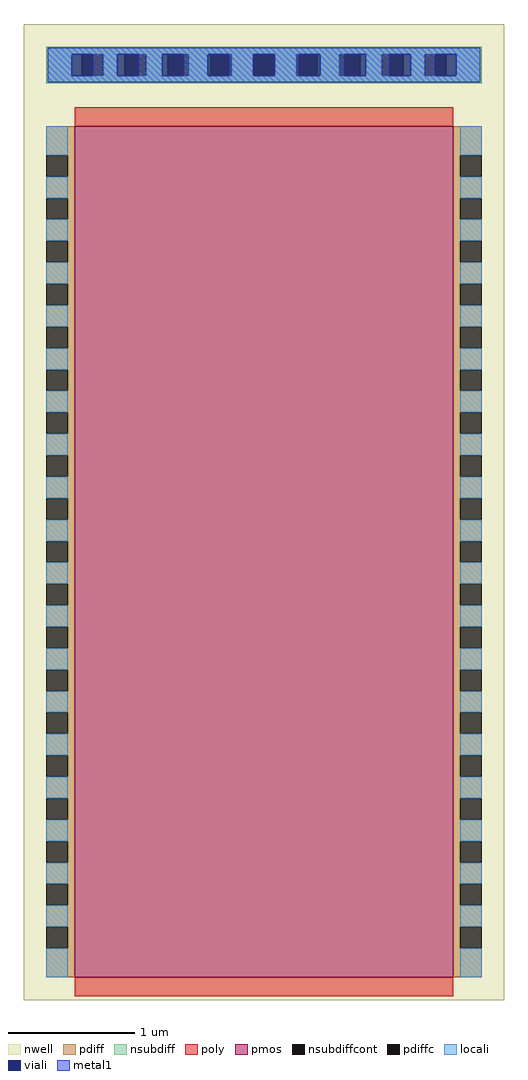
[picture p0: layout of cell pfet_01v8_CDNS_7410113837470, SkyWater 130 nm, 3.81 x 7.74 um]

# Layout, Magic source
magic
tech sky130A
magscale 1 2
<< nwell >>
rect -81 -36 681 1512
<< pmos >>
rect 0 0 600 1350
<< pdiff >>
rect -45 1304 0 1350
rect -11 1270 0 1304
rect -45 1236 0 1270
rect -11 1202 0 1236
rect -45 1168 0 1202
rect -11 1134 0 1168
rect -45 1100 0 1134
rect -11 1066 0 1100
rect -45 1032 0 1066
rect -11 998 0 1032
rect -45 964 0 998
rect -11 930 0 964
rect -45 896 0 930
rect -11 862 0 896
rect -45 828 0 862
rect -11 794 0 828
rect -45 760 0 794
rect -11 726 0 760
rect -45 692 0 726
rect -11 658 0 692
rect -45 624 0 658
rect -11 590 0 624
rect -45 556 0 590
rect -11 522 0 556
rect -45 488 0 522
rect -11 454 0 488
rect -45 420 0 454
rect -11 386 0 420
rect -45 352 0 386
rect -11 318 0 352
rect -45 284 0 318
rect -11 250 0 284
rect -45 216 0 250
rect -11 182 0 216
rect -45 148 0 182
rect -11 114 0 148
rect -45 80 0 114
rect -11 46 0 80
rect -45 0 0 46
rect 600 1304 645 1350
rect 600 1270 611 1304
rect 600 1236 645 1270
rect 600 1202 611 1236
rect 600 1168 645 1202
rect 600 1134 611 1168
rect 600 1100 645 1134
rect 600 1066 611 1100
rect 600 1032 645 1066
rect 600 998 611 1032
rect 600 964 645 998
rect 600 930 611 964
rect 600 896 645 930
rect 600 862 611 896
rect 600 828 645 862
rect 600 794 611 828
rect 600 760 645 794
rect 600 726 611 760
rect 600 692 645 726
rect 600 658 611 692
rect 600 624 645 658
rect 600 590 611 624
rect 600 556 645 590
rect 600 522 611 556
rect 600 488 645 522
rect 600 454 611 488
rect 600 420 645 454
rect 600 386 611 420
rect 600 352 645 386
rect 600 318 611 352
rect 600 284 645 318
rect 600 250 611 284
rect 600 216 645 250
rect 600 182 611 216
rect 600 148 645 182
rect 600 114 611 148
rect 600 80 645 114
rect 600 46 611 80
rect 600 0 645 46
<< pdiffc >>
rect -45 1270 -11 1304
rect -45 1202 -11 1236
rect -45 1134 -11 1168
rect -45 1066 -11 1100
rect -45 998 -11 1032
rect -45 930 -11 964
rect -45 862 -11 896
rect -45 794 -11 828
rect -45 726 -11 760
rect -45 658 -11 692
rect -45 590 -11 624
rect -45 522 -11 556
rect -45 454 -11 488
rect -45 386 -11 420
rect -45 318 -11 352
rect -45 250 -11 284
rect -45 182 -11 216
rect -45 114 -11 148
rect -45 46 -11 80
rect 611 1270 645 1304
rect 611 1202 645 1236
rect 611 1134 645 1168
rect 611 1066 645 1100
rect 611 998 645 1032
rect 611 930 645 964
rect 611 862 645 896
rect 611 794 645 828
rect 611 726 645 760
rect 611 658 645 692
rect 611 590 645 624
rect 611 522 645 556
rect 611 454 645 488
rect 611 386 645 420
rect 611 318 645 352
rect 611 250 645 284
rect 611 182 645 216
rect 611 114 645 148
rect 611 46 645 80
<< nsubdiff >>
rect -45 1464 645 1476
rect -45 1430 11 1464
rect 45 1430 79 1464
rect 113 1430 147 1464
rect 181 1430 215 1464
rect 249 1430 283 1464
rect 317 1430 351 1464
rect 385 1430 419 1464
rect 453 1430 487 1464
rect 521 1430 555 1464
rect 589 1430 645 1464
rect -45 1418 645 1430
<< nsubdiffcont >>
rect 11 1430 45 1464
rect 79 1430 113 1464
rect 147 1430 181 1464
rect 215 1430 249 1464
rect 283 1430 317 1464
rect 351 1430 385 1464
rect 419 1430 453 1464
rect 487 1430 521 1464
rect 555 1430 589 1464
<< poly >>
rect 0 1350 600 1380
rect 0 -30 600 0
<< locali >>
rect -43 1464 643 1474
rect -43 1430 -5 1464
rect 45 1430 67 1464
rect 113 1430 139 1464
rect 181 1430 211 1464
rect 249 1430 283 1464
rect 317 1430 351 1464
rect 389 1430 419 1464
rect 461 1430 487 1464
rect 533 1430 555 1464
rect 605 1430 643 1464
rect -43 1420 643 1430
rect -45 1304 -11 1350
rect -45 1236 -11 1270
rect -45 1168 -11 1202
rect -45 1100 -11 1134
rect -45 1032 -11 1066
rect -45 964 -11 998
rect -45 896 -11 930
rect -45 828 -11 862
rect -45 760 -11 794
rect -45 692 -11 726
rect -45 624 -11 658
rect -45 556 -11 590
rect -45 488 -11 522
rect -45 420 -11 454
rect -45 352 -11 386
rect -45 284 -11 318
rect -45 216 -11 250
rect -45 148 -11 182
rect -45 80 -11 114
rect -45 0 -11 46
rect 611 1304 645 1350
rect 611 1236 645 1270
rect 611 1168 645 1202
rect 611 1100 645 1134
rect 611 1032 645 1066
rect 611 964 645 998
rect 611 896 645 930
rect 611 828 645 862
rect 611 760 645 794
rect 611 692 645 726
rect 611 624 645 658
rect 611 556 645 590
rect 611 488 645 522
rect 611 420 645 454
rect 611 352 645 386
rect 611 284 645 318
rect 611 216 645 250
rect 611 148 645 182
rect 611 80 645 114
rect 611 0 645 46
<< viali >>
rect -5 1430 11 1464
rect 11 1430 29 1464
rect 67 1430 79 1464
rect 79 1430 101 1464
rect 139 1430 147 1464
rect 147 1430 173 1464
rect 211 1430 215 1464
rect 215 1430 245 1464
rect 283 1430 317 1464
rect 355 1430 385 1464
rect 385 1430 389 1464
rect 427 1430 453 1464
rect 453 1430 461 1464
rect 499 1430 521 1464
rect 521 1430 533 1464
rect 571 1430 589 1464
rect 589 1430 605 1464
<< metal1 >>
rect -43 1464 643 1474
rect -43 1430 -5 1464
rect 29 1430 67 1464
rect 101 1430 139 1464
rect 173 1430 211 1464
rect 245 1430 283 1464
rect 317 1430 355 1464
rect 389 1430 427 1464
rect 461 1430 499 1464
rect 533 1430 571 1464
rect 605 1430 643 1464
rect -43 1420 643 1430
<< end >>
